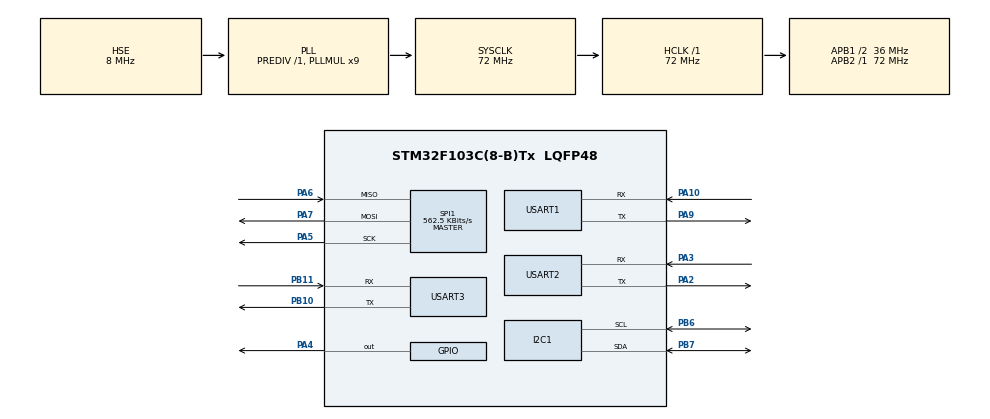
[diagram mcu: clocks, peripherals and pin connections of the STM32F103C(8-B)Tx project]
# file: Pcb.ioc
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Dma.Request0=USART1_RX
Dma.USART1_RX.0.Direction=DMA_PERIPH_TO_MEMORY
Dma.USART1_RX.0.Instance=DMA1_Channel5
Dma.USART1_RX.0.MemDataAlignment=DMA_MDATAALIGN_BYTE
Dma.USART1_RX.0.MemInc=DMA_MINC_ENABLE
Dma.USART1_RX.0.Mode=DMA_NORMAL
Dma.USART1_RX.0.PeriphDataAlignment=DMA_PDATAALIGN_BYTE
Dma.USART1_RX.0.PeriphInc=DMA_PINC_DISABLE
Dma.USART1_RX.0.Priority=DMA_PRIORITY_LOW
Mcu.Family=STM32F1
Mcu.Name=STM32F103C(8-B)Tx
Mcu.Package=LQFP48
NVIC.DMA1_Channel5_IRQn=true\:0\:0\:false\:false\:true\:false\:true\:true
NVIC.PriorityGroup=NVIC_PRIORITYGROUP_4
NVIC.SPI1_IRQn=true\:0\:0\:false\:false\:true\:true\:true\:true
NVIC.USART1_IRQn=true\:0\:0\:false\:false\:true\:true\:true\:true
PA10.Mode=Asynchronous
PA10.Signal=USART1_RX
PA2.Mode=Asynchronous
PA2.Signal=USART2_TX
PA3.Mode=Asynchronous
PA3.Signal=USART2_RX
PA4.Signal=GPIO_Output
PA5.Mode=Full_Duplex_Master
PA5.Signal=SPI1_SCK
PA6.Mode=Full_Duplex_Master
PA6.Signal=SPI1_MISO
PA7.Mode=Full_Duplex_Master
PA7.Signal=SPI1_MOSI
PA9.Mode=Asynchronous
PA9.Signal=USART1_TX
PB10.Mode=Asynchronous
PB10.Signal=USART3_TX
PB11.Mode=Asynchronous
PB11.Signal=USART3_RX
PB6.Mode=I2C
PB6.Signal=I2C1_SCL
PB7.Mode=I2C
PB7.Signal=I2C1_SDA
PD0-OSC_IN.Mode=HSE-External-Oscillator
PD0-OSC_IN.Signal=RCC_OSC_IN
PD1-OSC_OUT.Mode=HSE-External-Oscillator
PD1-OSC_OUT.Signal=RCC_OSC_OUT
ProjectManager.HeapSize=0x200
ProjectManager.StackSize=0x400
ProjectManager.TargetToolchain=STM32CubeIDE
RCC.AHBFreq_Value=72000000
RCC.APB1CLKDivider=RCC_HCLK_DIV2
RCC.APB1Freq_Value=36000000
RCC.APB1TimFreq_Value=72000000
RCC.APB2Freq_Value=72000000
RCC.APB2TimFreq_Value=72000000
RCC.HCLKFreq_Value=72000000
RCC.PLLMUL=RCC_PLL_MUL9
RCC.PLLSourceVirtual=RCC_PLLSOURCE_HSE
RCC.SYSCLKFreq_VALUE=72000000
RCC.SYSCLKSource=RCC_SYSCLKSOURCE_PLLCLK
RCC.USBFreq_Value=72000000
SPI1.BaudRatePrescaler=SPI_BAUDRATEPRESCALER_128
SPI1.CLKPhase=SPI_PHASE_1EDGE
SPI1.CalculateBaudRate=562.5 KBits/s
SPI1.Direction=SPI_DIRECTION_2LINES
SPI1.Mode=SPI_MODE_MASTER
SPI1.VirtualType=VM_MASTER
USART1.VirtualMode=VM_ASYNC
USART2.VirtualMode=VM_ASYNC
USART3.VirtualMode=VM_ASYNC
VP_SYS_VS_ND.Mode=No_Debug
VP_TIM1_VS_ClockSourceITR.Mode=TriggerSource_ITR0
VP_TIM1_VS_ControllerModeClock.Mode=Clock Mode
board=custom

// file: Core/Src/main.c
/* USER CODE BEGIN Header */
/**
  ******************************************************************************
  * @file           : main.c
  * @brief          : Main program body - Sensor data acquisition and transmission
  ******************************************************************************
  * @attention
  *
  * Copyright (c) 2025 STMicroelectronics.
  * All rights reserved.
  *
  * This software is licensed under terms that can be found in the LICENSE file
  * in the root directory of this software component.
  * If no LICENSE file comes with this software, it is provided AS-IS.
  *
  ******************************************************************************
  */
/* USER CODE END Header */
#include "main.h"

/* USER CODE BEGIN Includes */
#include "math.h"
#include "BME280_STM32.h"
#include <stdio.h>
#include <string.h>
#include "lwgps/lwgps.h"
#include <stdbool.h>

//SUT
#include <stdint.h>
#include "stm32f1xx_hal.h"
/* USER CODE END Includes */

/* USER CODE BEGIN PTD */
typedef struct {
    int16_t x, y, z;
} sensor_data_t;

typedef struct {
    float roll, pitch, yaw;
} orientation_t;

/* Kalman Filter structure for each angle */
typedef struct {
    float Q;  // Process noise covariance
    float R;  // Measurement noise covariance
    float P;  // Estimate error covariance
    float K;  // Kalman gain
    float X;  // State estimate
} kalman_filter_t;

//SUT
typedef struct {
    float altitude;
    float pressure;
    float accel_x;
    float accel_y;
    float accel_z;
    float angle_x;
    float angle_y;
    float angle_z;
} TelemetryData_t;
/* USER CODE END PTD */

/* USER CODE BEGIN PD */
#define PACKET_HEADER_SIZE      3
#define BUFFER_SIZE             150
#define IMU_DATA_SIZE           14
#define MEASUREMENT_DELAY       190
#define LORA_MAX_PAYLOAD        58

#define GPS_DEBUG_RAW_NMEA      1

#define TARGET_ADDR_HIGH        0x00
#define TARGET_ADDR_LOW         0x02
#define CHANNEL                 0x17

#define MPU9250_ACCEL_XOUT_H    0x3B  // 59
#define MPU9250_GYRO_XOUT_H     0x43  // 67

#define ACCEL_SCALE_FACTOR      16384.0f  // ±2g
#define GYRO_SCALE_FACTOR       131.0f    // ±250 °/s
#define RAD_TO_DEG              57.2958f

//SUT
#define TELEMETRY_HEADER 0xAB
#define FOOTER_1 0x0D
#define FOOTER_2 0x0A
#define PACKET_SIZE 36

// New status message format
#define STATUS_HEADER 0xAA
#define STATUS_FOOTER_1 0x0D
#define STATUS_FOOTER_2 0x0A
#define STATUS_MESSAGE_SIZE 6

// Status bit definitions (sequential activation from LSB to MSB)
#define STATUS_ROCKET_FIRED_BIT      (1 << 0)  // Bit 0 - FIRST
#define STATUS_WAITED_5SN_BIT        (1 << 1)  // Bit 1 - SECOND
#define STATUS_MIN_ALTITUDE_BIT      (1 << 2)  // Bit 2 - THIRD
#define STATUS_ANGLE_EXCEEDED_BIT    (1 << 3)  // Bit 3 - FOURTH
#define STATUS_ALTITUDE_DECREASING_BIT (1 << 4) // Bit 4 - FIFTH
#define STATUS_FIRST_PARACHUTE_BIT   (1 << 5)  // Bit 5 - SIXTH (moved from bit 6)
#define STATUS_ALTITUDE_550_BIT      (1 << 6)  // Bit 6 - SEVENTH (moved from bit 5)
#define STATUS_SECOND_PARACHUTE_BIT  (1 << 7)  // Bit 7 - LAST
/* USER CODE END PD */

I2C_HandleTypeDef hi2c1;

SPI_HandleTypeDef hspi1;

TIM_HandleTypeDef htim1;

UART_HandleTypeDef huart1;
UART_HandleTypeDef huart2;
UART_HandleTypeDef huart3;
DMA_HandleTypeDef hdma_usart1_rx;

/* USER CODE BEGIN PV */
I2C_HandleTypeDef    hi2c1;
SPI_HandleTypeDef    hspi1;
UART_HandleTypeDef   huart1;    /* Debug */
UART_HandleTypeDef   huart2;    /* GPS */
UART_HandleTypeDef   huart3;    /* LoRa */

static orientation_t orientation = {0};
static uint32_t      last_time = 0;

// Kalman filters for each angle
static kalman_filter_t kalman_roll = {0};
static kalman_filter_t kalman_pitch = {0};
static kalman_filter_t kalman_yaw = {0};

lwgps_t              gps;
uint8_t              rx_buffer[128];
uint8_t              rx_index = 0;
uint8_t              rx_data = 0;
uint32_t             gps_data_received_count = 0;

float Temperature, Pressure, altitude;
float gyro_x, gyro_y, gyro_z;
float accel_x, accel_y, accel_z;

//SUT
TelemetryData_t telemetry_data = {0};
uint8_t rx_buffer_sut[PACKET_SIZE];
uint8_t packet_received = 0;

// Simple buffer for incoming data
uint8_t incoming_buffer[PACKET_SIZE * 4] = {0}; // Increased to 4x packet size for better buffering
uint16_t buffer_index = 0;
uint8_t uart_busy = 0; // Flag to prevent conflicts

// Timer variables
TIM_HandleTypeDef htim2;
uint32_t timer_tick = 0;
uint32_t packets_received_count = 0; // Counter for received packets

// Status tracking variables
uint8_t current_status_byte = 0x00;
float previous_altitude = 0.0f;
uint32_t rocket_fired_timestamp = 0;
uint8_t status_sent = 0; // Flag to track if status was already sent

// Filtering variables for telemetry data
#define FILTER_SIZE 5
float altitude_filter[FILTER_SIZE] = {0};
float accel_z_filter[FILTER_SIZE] = {0};
float angle_x_filter[FILTER_SIZE] = {0};
float angle_y_filter[FILTER_SIZE] = {0};
uint8_t filter_index = 0;
uint8_t filter_filled = 0; // Flag to indicate if filter is filled
/* USER CODE END PV */

void SystemClock_Config(void);
static void MX_GPIO_Init(void);
static void MX_DMA_Init(void);
static void MX_I2C1_Init(void);
static void MX_SPI1_Init(void);
static void MX_USART1_UART_Init(void);
static void MX_USART2_UART_Init(void);
static void MX_USART3_UART_Init(void);
static void MX_TIM1_Init(void);
/* USER CODE BEGIN PFP */
void initialize_sensors(void);
void read_bme280_data(void);
void read_accelerometer_data(sensor_data_t *accel_data);
void read_gyroscope_data(sensor_data_t *gyro_data);
void calculate_orientation(sensor_data_t *accel_data, sensor_data_t *gyro_data, orientation_t *orientation);
void transmit_sensor_packet(int alt, float ax, float ay, float az, float gx, float gy, float gz, float lat, float lon);
void print_gps_debug_info(void);
void check_uart_errors(void);
void mpu9250_read_data(uint8_t reg, uint8_t *data, uint8_t len);

// Kalman filter functions
void kalman_filter_init(kalman_filter_t *kf, float Q, float R);
float kalman_filter_update(kalman_filter_t *kf, float measurement, float dt);
void initialize_kalman_filters(void);
void print_kalman_debug_info(void);
void adjust_kalman_parameters(void);
bool is_device_stationary(void);
void set_kalman_responsiveness(bool high_responsiveness);

//SUT
void ParseTelemetryPacket(uint8_t* packet);
void PrintTelemetryData(void);
void ProcessIncomingData(uint8_t new_byte);
static void MX_TIM2_Init(void);
void TimerCallback(void);
void HAL_UART_RxCpltCallback(UART_HandleTypeDef *huart);
void HAL_UART_TxCpltCallback(UART_HandleTypeDef *huart);
void UpdateStatusFromTelemetry(void);
void SendStatusMessage(void);
uint8_t CalculateChecksum(uint8_t* data, uint8_t length);
void ApplyFiltering(void);
float GetFilteredValue(float* filter_array);
uint8_t status_message[STATUS_MESSAGE_SIZE];
/* USER CODE END PFP */

/* USER CODE BEGIN 0 */
void float_to_big_endian_bytes(float value, uint8_t *buf) {
    uint8_t *p = (uint8_t*)&value;
    buf[0] = p[3];
    buf[1] = p[2];
    buf[2] = p[1];
    buf[3] = p[0];
}

void send_uart1_data_package(float altitude, float pressure,
                             float acc_x, float acc_y, float acc_z,
                             float ori_x, float ori_y, float ori_z) {
    uint8_t packet[36];
    int i = 0;

    packet[i++] = 0xAB;

    float_to_big_endian_bytes(altitude,  &packet[i]); i += 4;
    float_to_big_endian_bytes(pressure,  &packet[i]); i += 4;
    float_to_big_endian_bytes(acc_x,     &packet[i]); i += 4;
    float_to_big_endian_bytes(acc_y,     &packet[i]); i += 4;
    float_to_big_endian_bytes(acc_z,     &packet[i]); i += 4;
    float_to_big_endian_bytes(ori_x,     &packet[i]); i += 4;
    float_to_big_endian_bytes(ori_y,     &packet[i]); i += 4;
    float_to_big_endian_bytes(ori_z,     &packet[i]); i += 4;

    // Checksum: sum of bytes 0 to 32 (mod 256)
    uint16_t sum = 0;
    for (int j = 0; j < 33; ++j) {  // Düzeltme: 0-32 arası checksum
        sum += packet[j];
    }
    packet[i++] = sum % 256;

    packet[i++] = 0x0D;
    packet[i++] = 0x0A;

    HAL_UART_Transmit(&huart1, packet, 36, HAL_MAX_DELAY);
}

/* UART MSP Initialization (GPIO + NVIC) -------------------------------------*/

/* UART IRQ Handlers ---------------------------------------------------------*/

/* UART Rx Complete Callback for GPS (USART2) --------------------------------*/
void HAL_UART_RxCpltCallback(UART_HandleTypeDef *huart)
{
    if (huart == &huart2) {
        /* Re-arm reception */
        HAL_UART_Receive_IT(&huart2, &rx_data, 1);

        if (rx_data != '\n' && rx_index < sizeof(rx_buffer) - 1) {
            rx_buffer[rx_index++] = rx_data;
            gps_data_received_count++;
        }
        else {
            if (rx_index > 0) {
                rx_buffer[rx_index] = '\0';
                lwgps_process(&gps, rx_buffer, rx_index);
            }
            rx_index = 0;
        }
    }

    if (huart->Instance == USART1) {
        // Process the received byte immediately
        ProcessIncomingData(incoming_buffer[buffer_index]);

        // Move to next buffer position
        buffer_index = (buffer_index + 1) % (PACKET_SIZE * 4);

        // Continue receiving next byte immediately - no delays
        HAL_UART_Receive_IT(&huart1, &incoming_buffer[buffer_index], 1);
     }
}

/* Print GPS debug info ------------------------------------------------------*/
void print_gps_debug_info(void)
{
    char dbg[256];
    int len = sprintf(dbg,
        "GPS Debug: fix=%d valid=%d sats=%d lat=%.6f lon=%.6f rx=%lu\r\n",
        gps.fix, gps.is_valid, gps.sats_in_use,
        gps.latitude, gps.longitude,
        gps_data_received_count
    );
#if 0
    HAL_UART_Transmit(&huart1, (uint8_t*)dbg, len, HAL_MAX_DELAY);
#endif
}

/* Recover from UART errors on GPS ------------------------------------------*/
void check_uart_errors(void)
{
    if (__HAL_UART_GET_FLAG(&huart2, UART_FLAG_ORE)) {
        __HAL_UART_CLEAR_OREFLAG(&huart2);
        HAL_UART_Receive_IT(&huart2, &rx_data, 1);
    }
    if (__HAL_UART_GET_FLAG(&huart2, UART_FLAG_FE))
        __HAL_UART_CLEAR_FEFLAG(&huart2);
    if (__HAL_UART_GET_FLAG(&huart2, UART_FLAG_NE))
        __HAL_UART_CLEAR_NEFLAG(&huart2);
}

/* Kalman Filter Implementation ----------------------------------------------*/
void kalman_filter_init(kalman_filter_t *kf, float Q, float R)
{
    kf->Q = Q;  // Process noise covariance
    kf->R = R;  // Measurement noise covariance
    kf->P = 1.0f;  // Initial estimate error covariance
    kf->K = 0.0f;  // Initial Kalman gain
    kf->X = 0.0f;  // Initial state estimate
}

float kalman_filter_update(kalman_filter_t *kf, float measurement, float dt)
{
    // Prediction step
    float X_pred = kf->X;  // State prediction (assuming constant velocity model)
    float P_pred = kf->P + kf->Q * dt;  // Error covariance prediction

    // Update step
    kf->K = P_pred / (P_pred + kf->R);  // Kalman gain
    kf->X = X_pred + kf->K * (measurement - X_pred);  // State update
    kf->P = (1.0f - kf->K) * P_pred;  // Error covariance update

    return kf->X;
}

void initialize_kalman_filters(void)
{
    // Initialize Kalman filters with appropriate noise parameters
    // Q: Process noise (gyroscope drift), R: Measurement noise (accelerometer noise)
    // Lower Q = more trust in model, Higher R = more trust in measurements

    // MORE RESPONSIVE SETTINGS (faster angle changes):
    // Roll and Pitch: Good accelerometer reference available
    kalman_filter_init(&kalman_roll, 0.01f, 0.05f);   // Roll filter - Higher Q, Lower R = more responsive
    kalman_filter_init(&kalman_pitch, 0.01f, 0.05f);  // Pitch filter - Higher Q, Lower R = more responsive

    // Yaw: No absolute reference, rely more on gyroscope
    kalman_filter_init(&kalman_yaw, 0.01f, 0.2f);    // Yaw filter - Higher Q = more responsive

    // ALTERNATIVE: STABLE SETTINGS (slower but smoother):
    // kalman_filter_init(&kalman_roll, 0.001f, 0.1f);   // Roll filter - Lower Q, Higher R = more stable
    // kalman_filter_init(&kalman_pitch, 0.001f, 0.1f);  // Pitch filter - Lower Q, Higher R = more stable
    // kalman_filter_init(&kalman_yaw, 0.001f, 0.5f);    // Yaw filter - Lower Q = more stable

    // Initialize orientation to zero
    orientation.roll = 0.0f;
    orientation.pitch = 0.0f;
    orientation.yaw = 0.0f;

    // Initialize time reference
    last_time = HAL_GetTick();
}

void print_kalman_debug_info(void)
{
    char dbg[256];
    int len = sprintf(dbg,
        "Kalman Debug: Roll(K=%.3f,P=%.3f,Q=%.4f) Pitch(K=%.3f,P=%.3f,Q=%.4f) Yaw(K=%.3f,P=%.3f,Q=%.4f) Motion:%s\r\n",
        kalman_roll.K, kalman_roll.P, kalman_roll.Q,
        kalman_pitch.K, kalman_pitch.P, kalman_pitch.Q,
        kalman_yaw.K, kalman_yaw.P, kalman_yaw.Q,
        is_device_stationary() ? "Stationary" : "Moving"
    );
#if 0  // Set to 1 to enable Kalman debug output
    HAL_UART_Transmit(&huart1, (uint8_t*)dbg, len, HAL_MAX_DELAY);
#endif
}

// Function to manually set responsiveness mode
void set_kalman_responsiveness(bool high_responsiveness)
{
    if (high_responsiveness) {
        // High responsiveness mode - angles change faster
        kalman_filter_init(&kalman_roll, 0.05f, 0.02f);   // Very high Q, very low R
        kalman_filter_init(&kalman_pitch, 0.05f, 0.02f);  // Very high Q, very low R
        kalman_filter_init(&kalman_yaw, 0.05f, 0.1f);     // Very high Q
    } else {
        // Stable mode - angles change slower but smoother
        kalman_filter_init(&kalman_roll, 0.001f, 0.1f);   // Low Q, high R
        kalman_filter_init(&kalman_pitch, 0.001f, 0.1f);  // Low Q, high R
        kalman_filter_init(&kalman_yaw, 0.001f, 0.5f);    // Low Q
    }
}

bool is_device_stationary(void)
{
    // Calculate the magnitude of acceleration and gyroscope
    float accel_magnitude = sqrtf(accel_x*accel_x + accel_y*accel_y + accel_z*accel_z);
    float gyro_magnitude = sqrtf(gyro_x*gyro_x + gyro_y*gyro_y + gyro_z*gyro_z);

    // Device is considered stationary if:
    // - Acceleration is close to 1g (9.81 m/s²) with some tolerance
    // - Gyroscope readings are very low
    float accel_tolerance = 0.5f;  // 0.5 m/s² tolerance
    float gyro_threshold = 0.5f;   // 0.5 °/s threshold

    return (fabsf(accel_magnitude - 9.81f) < accel_tolerance) && (gyro_magnitude < gyro_threshold);
}

void adjust_kalman_parameters(void)
{
    static uint32_t last_adjustment = 0;
    uint32_t now = HAL_GetTick();

    // Adjust parameters every 2 seconds (more frequent for better responsiveness)
    if (now - last_adjustment > 2000) {
        float motion_intensity = sqrtf(gyro_x*gyro_x + gyro_y*gyro_y + gyro_z*gyro_z);

        if (is_device_stationary()) {
            // When stationary, use stable settings
            kalman_roll.Q = 0.001f;
            kalman_pitch.Q = 0.001f;
            kalman_yaw.Q = 0.001f;
        } else if (motion_intensity > 10.0f) {
            // High motion - very responsive
            kalman_roll.Q = 0.05f;
            kalman_pitch.Q = 0.05f;
            kalman_yaw.Q = 0.05f;
        } else if (motion_intensity > 5.0f) {
            // Medium motion - responsive
            kalman_roll.Q = 0.02f;
            kalman_pitch.Q = 0.02f;
            kalman_yaw.Q = 0.02f;
        } else {
            // Low motion - moderately responsive
            kalman_roll.Q = 0.01f;
            kalman_pitch.Q = 0.01f;
            kalman_yaw.Q = 0.01f;
        }

        last_adjustment = now;
    }
}
/* USER CODE END 0 */

int main(void)
{

  /* USER CODE BEGIN 1 */
  /* Configure GPS to output at 5Hz */
  uint8_t setRate5Hz[] = {
	  0xB5, 0x62,
	  0x06, 0x08,
	  0x06, 0x00,
	  0xC8, 0x00,   // 200 ms = 5 Hz
	  0x01, 0x00,   // navRate = 1
	  0x01, 0x00,   // timeRef = GPS time
	  0xDE, 0x6A    // Checksum
  };

  HAL_Delay(1000);
  HAL_UART_Transmit(&huart2, setRate5Hz, sizeof(setRate5Hz), HAL_MAX_DELAY);
  HAL_Delay(1000);

  lwgps_init(&gps);
  HAL_UART_Receive_IT(&huart2, &rx_data, 1);
  HAL_Delay(200);
  print_gps_debug_info();

  sensor_data_t accel_data, gyro_data;
  uint32_t debug_counter = 0;
  /* USER CODE END 1 */

  /* MCU Configuration--------------------------------------------------------*/

  /* Reset of all peripherals, Initializes the Flash interface and the Systick. */
  HAL_Init();

  /* USER CODE BEGIN Init */
  initialize_sensors();

  /* Initialize Kalman filters for angle estimation */
  initialize_kalman_filters();
  /* USER CODE END Init */

  /* Configure the system clock */
  SystemClock_Config();

  /* Initialize all configured peripherals */
  MX_GPIO_Init();
  MX_DMA_Init();
  MX_I2C1_Init();
  MX_SPI1_Init();
  MX_USART1_UART_Init();
  MX_USART2_UART_Init();
  MX_USART3_UART_Init();
  MX_TIM1_Init();

  /* Infinite loop */
    while (1) {

    /* USER CODE BEGIN 3 */
    	/* BME280 */
        read_bme280_data();

        /* IMU */
        read_accelerometer_data(&accel_data);
        read_gyroscope_data(&gyro_data);
        calculate_orientation(&accel_data, &gyro_data, &orientation);

        /* Adjust Kalman filter parameters based on motion state */
        adjust_kalman_parameters();

        /* Debug GPS data before transmission */
#if 0
        char debug_gps[100];
        int gps_debug_len = sprintf(debug_gps, "GPS: valid=%d fix=%d lat=%.6f lon=%.6f\r\n",
                                   gps.is_valid, gps.fix, gps.latitude, gps.longitude);
        //HAL_UART_Transmit(&huart1, (uint8_t*)debug_gps, gps_debug_len, HAL_MAX_DELAY);
#endif

        /* Transmit via LoRa */
       /* transmit_sensor_packet(
            (int)altitude,
            accel_data.x / ACCEL_SCALE_FACTOR,
            accel_data.y / ACCEL_SCALE_FACTOR,
            accel_data.z / ACCEL_SCALE_FACTOR,
            gyro_data.x / GYRO_SCALE_FACTOR,
            gyro_data.y / GYRO_SCALE_FACTOR,
            gyro_data.z / GYRO_SCALE_FACTOR,
            gps.latitude,
            gps.longitude
        );

        // Add this call to send the binary data package over UART1
        send_uart1_data_package(
            altitude,
            Pressure / 100.0f,
            accel_data.x / ACCEL_SCALE_FACTOR,
            accel_data.y / ACCEL_SCALE_FACTOR,
            accel_data.z / ACCEL_SCALE_FACTOR,
            orientation.roll,
            orientation.pitch,
            orientation.yaw
        );*/

        if (++debug_counter >= 50) {
#if 0
            print_gps_debug_info();
#endif
            check_uart_errors();

            /* Debug BME280 data */
#if 0
            char debug_bme[100];
            int debug_len = sprintf(debug_bme, "BME280: T=%.2f P=%.2f Alt=%.2f\r\n",
                                   Temperature, Pressure, altitude);
            //HAL_UART_Transmit(&huart1, (uint8_t*)debug_bme, debug_len, HAL_MAX_DELAY);
#endif

            /* Debug Kalman filter performance */
            //print_kalman_debug_info();
            // adjust_kalman_parameters(); // Adjust parameters after each debug cycle - Moved to IMU calculation

            debug_counter = 0;
        }
        HAL_Delay(MEASUREMENT_DELAY);

        //SUT
        if (packet_received) {
		  packet_received = 0;

		  // Process the received packet
		  ParseTelemetryPacket(rx_buffer_sut);
		  // Apply filtering to telemetry values
		  ApplyFiltering();
		  // Update status based on telemetry data
		  UpdateStatusFromTelemetry();
		  // Send status message instead of telemetry data
		  SendStatusMessage();
        }
    }
  /* USER CODE END 3 */
}

void SystemClock_Config(void)
{
  RCC_OscInitTypeDef RCC_OscInitStruct = {0};
  RCC_ClkInitTypeDef RCC_ClkInitStruct = {0};

  /** Initializes the RCC Oscillators according to the specified parameters
  * in the RCC_OscInitTypeDef structure.
  */
  RCC_OscInitStruct.OscillatorType = RCC_OSCILLATORTYPE_HSE;
  RCC_OscInitStruct.HSEState = RCC_HSE_ON;
  RCC_OscInitStruct.HSEPredivValue = RCC_HSE_PREDIV_DIV1;
  RCC_OscInitStruct.HSIState = RCC_HSI_ON;
  RCC_OscInitStruct.PLL.PLLState = RCC_PLL_ON;
  RCC_OscInitStruct.PLL.PLLSource = RCC_PLLSOURCE_HSE;
  RCC_OscInitStruct.PLL.PLLMUL = RCC_PLL_MUL9;
  if (HAL_RCC_OscConfig(&RCC_OscInitStruct) != HAL_OK)
  {
    Error_Handler();
  }

  /** Initializes the CPU, AHB and APB buses clocks
  */
  RCC_ClkInitStruct.ClockType = RCC_CLOCKTYPE_HCLK|RCC_CLOCKTYPE_SYSCLK
                              |RCC_CLOCKTYPE_PCLK1|RCC_CLOCKTYPE_PCLK2;
  RCC_ClkInitStruct.SYSCLKSource = RCC_SYSCLKSOURCE_PLLCLK;
  RCC_ClkInitStruct.AHBCLKDivider = RCC_SYSCLK_DIV1;
  RCC_ClkInitStruct.APB1CLKDivider = RCC_HCLK_DIV2;
  RCC_ClkInitStruct.APB2CLKDivider = RCC_HCLK_DIV1;

  if (HAL_RCC_ClockConfig(&RCC_ClkInitStruct, FLASH_LATENCY_2) != HAL_OK)
  {
    Error_Handler();
  }
}

static void MX_I2C1_Init(void)
{

  hi2c1.Instance = I2C1;
  hi2c1.Init.ClockSpeed = 100000;
  hi2c1.Init.DutyCycle = I2C_DUTYCYCLE_2;
  hi2c1.Init.OwnAddress1 = 0;
  hi2c1.Init.AddressingMode = I2C_ADDRESSINGMODE_7BIT;
  hi2c1.Init.DualAddressMode = I2C_DUALADDRESS_DISABLE;
  hi2c1.Init.OwnAddress2 = 0;
  hi2c1.Init.GeneralCallMode = I2C_GENERALCALL_DISABLE;
  hi2c1.Init.NoStretchMode = I2C_NOSTRETCH_DISABLE;
  if (HAL_I2C_Init(&hi2c1) != HAL_OK)
  {
    Error_Handler();
  }

}

static void MX_SPI1_Init(void)
{

  /* SPI1 parameter configuration*/
  hspi1.Instance = SPI1;
  hspi1.Init.Mode = SPI_MODE_MASTER;
  hspi1.Init.Direction = SPI_DIRECTION_2LINES;
  hspi1.Init.DataSize = SPI_DATASIZE_8BIT;
  hspi1.Init.CLKPolarity = SPI_POLARITY_LOW;
  hspi1.Init.CLKPhase = SPI_PHASE_1EDGE;
  hspi1.Init.NSS = SPI_NSS_SOFT;
  hspi1.Init.BaudRatePrescaler = SPI_BAUDRATEPRESCALER_128;
  hspi1.Init.FirstBit = SPI_FIRSTBIT_MSB;
  hspi1.Init.TIMode = SPI_TIMODE_DISABLE;
  hspi1.Init.CRCCalculation = SPI_CRCCALCULATION_DISABLE;
  hspi1.Init.CRCPolynomial = 10;
  if (HAL_SPI_Init(&hspi1) != HAL_OK)
  {
    Error_Handler();
  }

}

static void MX_TIM1_Init(void)
{

  TIM_SlaveConfigTypeDef sSlaveConfig = {0};
  TIM_MasterConfigTypeDef sMasterConfig = {0};

  htim1.Instance = TIM1;
  htim1.Init.Prescaler = 0;
  htim1.Init.CounterMode = TIM_COUNTERMODE_UP;
  htim1.Init.Period = 65535;
  htim1.Init.ClockDivision = TIM_CLOCKDIVISION_DIV1;
  htim1.Init.RepetitionCounter = 0;
  htim1.Init.AutoReloadPreload = TIM_AUTORELOAD_PRELOAD_DISABLE;
  if (HAL_TIM_Base_Init(&htim1) != HAL_OK)
  {
    Error_Handler();
  }
  sSlaveConfig.SlaveMode = TIM_SLAVEMODE_EXTERNAL1;
  sSlaveConfig.InputTrigger = TIM_TS_ITR0;
  if (HAL_TIM_SlaveConfigSynchro(&htim1, &sSlaveConfig) != HAL_OK)
  {
    Error_Handler();
  }
  sMasterConfig.MasterOutputTrigger = TIM_TRGO_RESET;
  sMasterConfig.MasterSlaveMode = TIM_MASTERSLAVEMODE_DISABLE;
  if (HAL_TIMEx_MasterConfigSynchronization(&htim1, &sMasterConfig) != HAL_OK)
  {
    Error_Handler();
  }

}

static void MX_USART1_UART_Init(void)
{

  huart1.Instance = USART1;
  huart1.Init.BaudRate = 115200;
  huart1.Init.WordLength = UART_WORDLENGTH_8B;
  huart1.Init.StopBits = UART_STOPBITS_1;
  huart1.Init.Parity = UART_PARITY_NONE;
  huart1.Init.Mode = UART_MODE_TX_RX;
  huart1.Init.HwFlowCtl = UART_HWCONTROL_NONE;
  huart1.Init.OverSampling = UART_OVERSAMPLING_16;
  if (HAL_UART_Init(&huart1) != HAL_OK)
  {
    Error_Handler();
  }

}

static void MX_USART2_UART_Init(void)
{

  huart2.Instance = USART2;
  huart2.Init.BaudRate = 115200;
  huart2.Init.WordLength = UART_WORDLENGTH_8B;
  huart2.Init.StopBits = UART_STOPBITS_1;
  huart2.Init.Parity = UART_PARITY_NONE;
  huart2.Init.Mode = UART_MODE_TX_RX;
  huart2.Init.HwFlowCtl = UART_HWCONTROL_NONE;
  huart2.Init.OverSampling = UART_OVERSAMPLING_16;
  if (HAL_UART_Init(&huart2) != HAL_OK)
  {
    Error_Handler();
  }

}

static void MX_USART3_UART_Init(void)
{

  huart3.Instance = USART3;
  huart3.Init.BaudRate = 115200;
  huart3.Init.WordLength = UART_WORDLENGTH_8B;
  huart3.Init.StopBits = UART_STOPBITS_1;
  huart3.Init.Parity = UART_PARITY_NONE;
  huart3.Init.Mode = UART_MODE_TX_RX;
  huart3.Init.HwFlowCtl = UART_HWCONTROL_NONE;
  huart3.Init.OverSampling = UART_OVERSAMPLING_16;
  if (HAL_UART_Init(&huart3) != HAL_OK)
  {
    Error_Handler();
  }

}

static void MX_DMA_Init(void)
{

  /* DMA controller clock enable */
  __HAL_RCC_DMA1_CLK_ENABLE();

  /* DMA interrupt init */
  /* DMA1_Channel5_IRQn interrupt configuration */
  HAL_NVIC_SetPriority(DMA1_Channel5_IRQn, 0, 0);
  HAL_NVIC_EnableIRQ(DMA1_Channel5_IRQn);

}

static void MX_GPIO_Init(void)
{
  GPIO_InitTypeDef GPIO_InitStruct = {0};

  /* GPIO Ports Clock Enable */
  __HAL_RCC_GPIOD_CLK_ENABLE();
  __HAL_RCC_GPIOA_CLK_ENABLE();
  __HAL_RCC_GPIOB_CLK_ENABLE();

  /*Configure GPIO pin Output Level */
  HAL_GPIO_WritePin(GPIOA, GPIO_PIN_4, GPIO_PIN_RESET);

  /*Configure GPIO pin : PA4 */
  GPIO_InitStruct.Pin = GPIO_PIN_4;
  GPIO_InitStruct.Mode = GPIO_MODE_OUTPUT_PP;
  GPIO_InitStruct.Pull = GPIO_NOPULL;
  GPIO_InitStruct.Speed = GPIO_SPEED_FREQ_LOW;
  HAL_GPIO_Init(GPIOA, &GPIO_InitStruct);

}

/* USER CODE BEGIN 4 */

/* Initialize BME280 ---------------------------------------------------------*/
void initialize_sensors(void)
{
    BME280_Config(OSRS_2, OSRS_2, OSRS_1, MODE_NORMAL, T_SB_0p5, IIR_16);
}

/* Read BME280 data ----------------------------------------------------------*/
void read_bme280_data(void)
{
    BME280_Measure();
    altitude = 44330.0f * (1.0f - powf((Pressure / 101325.0f), (1.0f / 5.225f)));
}

/* Read accelerometer --------------------------------------------------------*/
void read_accelerometer_data(sensor_data_t *accel_data)
{
    uint8_t buf[IMU_DATA_SIZE];
    mpu9250_read_data(MPU9250_ACCEL_XOUT_H, buf, 6);
    accel_data->x = (int16_t)((buf[0] << 8) | buf[1]);
    accel_data->y = (int16_t)((buf[2] << 8) | buf[3]);
    accel_data->z = (int16_t)((buf[4] << 8) | buf[5]);
}

/* Read gyroscope ------------------------------------------------------------*/
void read_gyroscope_data(sensor_data_t *gyro_data)
{
    uint8_t buf[IMU_DATA_SIZE];
    mpu9250_read_data(MPU9250_GYRO_XOUT_H, buf, 6);
    gyro_data->x = (int16_t)((buf[0] << 8) | buf[1]);
    gyro_data->y = (int16_t)((buf[2] << 8) | buf[3]);
    gyro_data->z = (int16_t)((buf[4] << 8) | buf[5]);
}

/* MPU9250 SPI read ----------------------------------------------------------*/
void mpu9250_read_data(uint8_t reg, uint8_t *data, uint8_t len)
{
    uint8_t tx = 0x80 | reg;
    HAL_GPIO_WritePin(SPI_CS_GPIO_Port, SPI_CS_Pin, GPIO_PIN_RESET);
    HAL_SPI_Transmit(&hspi1, &tx, 1, 100);
    HAL_SPI_Receive(&hspi1, data, len, 100);
    HAL_GPIO_WritePin(SPI_CS_GPIO_Port, SPI_CS_Pin, GPIO_PIN_SET);
}

/* Calculate orientation using Kalman filtering ------------------------------*/
void calculate_orientation(sensor_data_t *accel_data, sensor_data_t *gyro_data, orientation_t *o)
{
    /* Convert to units */
    accel_x = accel_data->x / ACCEL_SCALE_FACTOR;
    accel_y = accel_data->y / ACCEL_SCALE_FACTOR;
    accel_z = accel_data->z / ACCEL_SCALE_FACTOR;
    gyro_x  = gyro_data->x / GYRO_SCALE_FACTOR;
    gyro_y  = gyro_data->y / GYRO_SCALE_FACTOR;
    gyro_z  = gyro_data->z / GYRO_SCALE_FACTOR;

    uint32_t now = HAL_GetTick();
    float dt = (now - last_time) / 1000.0f;
    last_time = now;
    if (dt <= 0 || dt > 1.0f) dt = 0.01f;

    // Apply simple gyroscope bias compensation (temperature drift)
    static float gyro_bias_x = 0.0f, gyro_bias_y = 0.0f, gyro_bias_z = 0.0f;
    static uint32_t bias_update_counter = 0;

    if (is_device_stationary()) {
        // Update bias when stationary
        gyro_bias_x = 0.95f * gyro_bias_x + 0.05f * gyro_x;
        gyro_bias_y = 0.95f * gyro_bias_y + 0.05f * gyro_y;
        gyro_bias_z = 0.95f * gyro_bias_z + 0.05f * gyro_z;
        bias_update_counter++;
    }

    // Apply bias compensation
    float gyro_x_comp = gyro_x - gyro_bias_x;
    float gyro_y_comp = gyro_y - gyro_bias_y;
    float gyro_z_comp = gyro_z - gyro_bias_z;

    // Calculate accelerometer-based angles
    float accel_roll  = atan2f(accel_y, sqrtf(accel_x*accel_x + accel_z*accel_z)) * RAD_TO_DEG;
    float accel_pitch = atan2f(-accel_x, sqrtf(accel_y*accel_y + accel_z*accel_z)) * RAD_TO_DEG;

    // Apply Kalman filtering to roll and pitch
    o->roll = kalman_filter_update(&kalman_roll, accel_roll, dt);
    o->pitch = kalman_filter_update(&kalman_pitch, accel_pitch, dt);

    // For yaw, we only have gyroscope data, so we use a simple integration with Kalman filtering
    // to reduce drift
    float gyro_yaw_rate = gyro_z_comp;
    float predicted_yaw = o->yaw + gyro_yaw_rate * dt;

    // Use a higher measurement noise for yaw since we don't have absolute reference
    // This makes the filter rely more on the gyroscope prediction
    o->yaw = kalman_filter_update(&kalman_yaw, predicted_yaw, dt);

    // Normalize yaw to -180 to +180 degrees
    while (o->yaw > 180.0f) o->yaw -= 360.0f;
    while (o->yaw < -180.0f) o->yaw += 360.0f;

    // Apply angle limits to prevent unrealistic values
    o->roll = fmaxf(-90.0f, fminf(90.0f, o->roll));
    o->pitch = fmaxf(-90.0f, fminf(90.0f, o->pitch));
}

/* Transmit packet over LoRa (USART3) ----------------------------------------*/
void transmit_sensor_packet(int alt, float ax, float ay, float az, float gx, float gy, float gz, float lat, float lon)
{
    char buf[BUFFER_SIZE];
    int len;
    if (!gps.is_valid) {
        len = sprintf(buf, "%d,%d,%d,%d,0.0000,0.0000,%.2f\n",
                      alt, (int)orientation.roll, (int)orientation.pitch, (int)orientation.yaw, gps.altitude);
    } else {
        len = sprintf(buf, "%d,%d,%d,%d,%.4f,%.4f,%.2f\n",
                      alt, (int)orientation.roll, (int)orientation.pitch, (int)orientation.yaw,
                      lat, lon, gps.altitude);
    }
    uint8_t packet[PACKET_HEADER_SIZE + len];
    packet[0] = TARGET_ADDR_HIGH;
    packet[1] = TARGET_ADDR_LOW;
    packet[2] = CHANNEL;
    memcpy(&packet[3], buf, len);
    HAL_UART_Transmit(&huart3, packet, 3 + len, HAL_MAX_DELAY);

    /* Send additional line break to ensure proper separation */
    uint8_t line_break[] = "\r\n";
    HAL_UART_Transmit(&huart3, line_break, 2, HAL_MAX_DELAY);

    /* Add a small delay to ensure proper line separation */
    HAL_Delay(10);
}

//SUT
void ParseTelemetryPacket(uint8_t* packet)
{
    // Check header and footer
    if (packet[0] != TELEMETRY_HEADER ||
        packet[34] != FOOTER_1 ||
        packet[35] != FOOTER_2) {
        return;
    }

    // Parse big-endian float values - need to reverse byte order for ARM (little-endian)
    // Altitude (bytes 2-5) - reverse order: 4,3,2,1
    uint8_t alt_bytes[4] = {packet[4], packet[3], packet[2], packet[1]};
    memcpy(&telemetry_data.altitude, alt_bytes, 4);

    // Pressure (bytes 6-9) - reverse order: 8,7,6,5
    uint8_t press_bytes[4] = {packet[8], packet[7], packet[6], packet[5]};
    memcpy(&telemetry_data.pressure, press_bytes, 4);

    // Acceleration X (bytes 10-13) - reverse order: 12,11,10,9
    uint8_t accel_x_bytes[4] = {packet[12], packet[11], packet[10], packet[9]};
    memcpy(&telemetry_data.accel_x, accel_x_bytes, 4);

    // Acceleration Y (bytes 14-17) - reverse order: 16,15,14,13
    uint8_t accel_y_bytes[4] = {packet[16], packet[15], packet[14], packet[13]};
    memcpy(&telemetry_data.accel_y, accel_y_bytes, 4);

    // Acceleration Z (bytes 18-21) - reverse order: 20,19,18,17
    uint8_t accel_z_bytes[4] = {packet[20], packet[19], packet[18], packet[17]};
    memcpy(&telemetry_data.accel_z, accel_z_bytes, 4);

    // Angle X (bytes 22-25) - reverse order: 24,23,22,21
    uint8_t angle_x_bytes[4] = {packet[24], packet[23], packet[22], packet[21]};
    memcpy(&telemetry_data.angle_x, angle_x_bytes, 4);

    // Angle Y (bytes 26-29) - reverse order: 28,27,26,25
    uint8_t angle_y_bytes[4] = {packet[28], packet[27], packet[26], packet[25]};
    memcpy(&telemetry_data.angle_y, angle_y_bytes, 4);

    // Angle Z (bytes 30-33) - reverse order: 32,31,30,29
    uint8_t angle_z_bytes[4] = {packet[32], packet[31], packet[30], packet[29]};
    memcpy(&telemetry_data.angle_z, angle_z_bytes, 4);
}

/**
 * @brief Print parsed telemetry data via UART
 */
/**
 * @brief Process incoming byte and look for complete packets
 * @param new_byte: New byte received
 */
void ProcessIncomingData(uint8_t new_byte)
{
    // Store byte in buffer
    incoming_buffer[buffer_index] = new_byte;

    // Simple and fast packet detection
    static uint8_t packet_state = 0;
    static uint8_t byte_count = 0;

    switch (packet_state) {
        case 0: // Looking for header
            if (new_byte == TELEMETRY_HEADER) {
                packet_state = 1;
                byte_count = 1;
            }
            break;

        case 1: // Collecting packet data
            byte_count++;
            if (byte_count >= PACKET_SIZE) {
                // Check footer
                if (incoming_buffer[(buffer_index - PACKET_SIZE + 1 + PACKET_SIZE - 2) % (PACKET_SIZE * 4)] == FOOTER_1 &&
                    incoming_buffer[(buffer_index - PACKET_SIZE + 1 + PACKET_SIZE - 1) % (PACKET_SIZE * 4)] == FOOTER_2) {

                    // Copy complete packet to rx_buffer_sut
                    uint16_t start_idx = (buffer_index - PACKET_SIZE + 1) % (PACKET_SIZE * 4);
                    for (uint8_t i = 0; i < PACKET_SIZE; i++) {
                        rx_buffer_sut[i] = incoming_buffer[(start_idx + i) % (PACKET_SIZE * 4)];
                    }

                    // Set flag for main loop to process
                    packet_received = 1;
                    packets_received_count++; // Increment packet counter
                }

                // Reset for next packet
                packet_state = 0;
                byte_count = 0;
            }
            break;
    }
}

void HAL_UART_TxCpltCallback(UART_HandleTypeDef *huart)
{
    if (huart->Instance == USART1) {
        // USART1 ile gönderim tamamlandı
        uart_busy = 0; // Örn: tekrar gönderime izin ver
    }
    else if (huart->Instance == USART2) {
        // USART2 için yapılacak işlemler
    }
    else if (huart->Instance == USART3) {
        // USART3 için yapılacak işlemler
    }
}

void TimerCallback(void)
{
  timer_tick++;

  // Timer callback - minimal processing
}

/**
 * @brief Timer period elapsed callback
 */
void HAL_TIM_PeriodElapsedCallback(TIM_HandleTypeDef *htim)
{
  if (htim->Instance == TIM2) {
    TimerCallback();
  }
}

void UpdateStatusFromTelemetry(void)
{
    uint8_t new_status = current_status_byte; // Start with current status (preserve existing bits)
    uint32_t current_time = HAL_GetTick();

    // Get filtered values
    float filtered_altitude = GetFilteredValue(altitude_filter);
    float filtered_accel_z = GetFilteredValue(accel_z_filter);
    float filtered_angle_x = GetFilteredValue(angle_x_filter);
    float filtered_angle_y = GetFilteredValue(angle_y_filter);

    // Check rocket fired (accel z > 30) - FIRST BIT (Bit 0)
    // Once activated, this bit stays on permanently
    if (filtered_accel_z > 25.0f) {
        new_status |= STATUS_ROCKET_FIRED_BIT;
        if (!(current_status_byte & STATUS_ROCKET_FIRED_BIT)) {
            // Rocket just fired, record timestamp
            rocket_fired_timestamp = current_time;
        }
    }

    // Check waited 5 seconds after rocket fired - SECOND BIT (Bit 1)
    // Only if rocket fired bit is active, and once activated stays on
    if ((new_status & STATUS_ROCKET_FIRED_BIT) &&
        (current_time - rocket_fired_timestamp >= 5000)) {
        new_status |= STATUS_WAITED_5SN_BIT;
    }

    // Check minimum altitude (>= 1500) - THIRD BIT (Bit 2)
    // Only if waited 5s bit is active, and once activated stays on
    if ((new_status & STATUS_WAITED_5SN_BIT) &&
        filtered_altitude >= 1500.0f) {
        new_status |= STATUS_MIN_ALTITUDE_BIT;
    }

    // Check angle exceeded (x or y > 60) - FOURTH BIT (Bit 3)
    // Only if minimum altitude bit is active, and once activated stays on
    if ((new_status & STATUS_MIN_ALTITUDE_BIT) &&
        (filtered_angle_x > 50.0f || filtered_angle_y > 50.0f)) {
        new_status |= STATUS_ANGLE_EXCEEDED_BIT;
    }

    // Check altitude decreasing - FIFTH BIT (Bit 4)
    // Only if angle exceeded bit is active, and once activated stays on
    if ((new_status & STATUS_ANGLE_EXCEEDED_BIT) &&
        filtered_altitude < previous_altitude) {
        new_status |= STATUS_ALTITUDE_DECREASING_BIT;
        // First parachute deployed at the same time as altitude decreasing - SIXTH BIT (Bit 5)
        new_status |= STATUS_FIRST_PARACHUTE_BIT;
    }

    // Check altitude <= 550 - SEVENTH BIT (Bit 6)
    if ((new_status & STATUS_FIRST_PARACHUTE_BIT) &&
        filtered_altitude <= 600.0f) {
        new_status |= STATUS_ALTITUDE_550_BIT;
    }

    // Check second parachute deployed - EIGHTH BIT (Bit 7)
    if ((new_status & STATUS_ALTITUDE_550_BIT) &&
        filtered_altitude <= 550.0f) {  // örnek eşik
        new_status |= STATUS_SECOND_PARACHUTE_BIT;
    }

    // Update status byte (new bits are added, existing bits are preserved)
    current_status_byte = new_status;

    // Store current filtered altitude for next comparison
    previous_altitude = filtered_altitude;
}

/**
 * @brief Calculate checksum for status message
 * @param data: Pointer to data array
 * @param length: Length of data (excluding checksum)
 * @retval Checksum value
 */
uint8_t CalculateChecksum(uint8_t* data, uint8_t length)
{
    uint16_t sum = 0;
    for (uint8_t i = 0; i < length; i++) {
        sum += data[i];
    }
    return (uint8_t)(sum % 256);
}

/**
 * @brief Send status message in the new 6-byte format
 */
void SendStatusMessage(void)
{
    // Build status message
    status_message[0] = STATUS_HEADER;        // 0xAA
    status_message[1] = current_status_byte;  // Status byte
    status_message[2] = 0x00;                // Reserved
    status_message[3] = 0x00;                // Checksum (calculated below)
    status_message[4] = STATUS_FOOTER_1;      // 0x0D
    status_message[5] = STATUS_FOOTER_2;      // 0x0A

    // Calculate checksum (sum of bytes 0, 1, 2, 4, 5, then mod 256)
    uint8_t checksum_data[5] = {status_message[0], status_message[1], status_message[2], status_message[4], status_message[5]};
    status_message[3] = CalculateChecksum(checksum_data, 5);
    // Send status message
    if (!uart_busy) {
        uart_busy = 1;
        HAL_UART_Transmit_IT(&huart1, status_message, STATUS_MESSAGE_SIZE);
    }

}

/**
 * @brief Apply filtering to telemetry values
 */
void ApplyFiltering(void)
{
    // Add new values to filter arrays
    altitude_filter[filter_index] = telemetry_data.altitude;
    accel_z_filter[filter_index] = telemetry_data.accel_z;
    angle_x_filter[filter_index] = telemetry_data.angle_x;
    angle_y_filter[filter_index] = telemetry_data.angle_y;

    // Move to next filter position
    filter_index = (filter_index + 1) % FILTER_SIZE;

    // Mark filter as filled after first complete cycle
    if (filter_index == 0) {
        filter_filled = 1;
    }
}

/**
 * @brief Get filtered value from filter array
 * @param filter_array: Pointer to filter array
 * @retval Filtered value (average)
 */
float GetFilteredValue(float* filter_array)
{
    if (!filter_filled) {
        // If filter not filled yet, return current value
        return filter_array[0];
    }

    // Calculate moving average
    float sum = 0;
    for (uint8_t i = 0; i < FILTER_SIZE; i++) {
        sum += filter_array[i];
    }
    return sum / FILTER_SIZE;
}
/* USER CODE END 4 */

void Error_Handler(void)
{
  __disable_irq();
  while (1)
  {
  }
}
